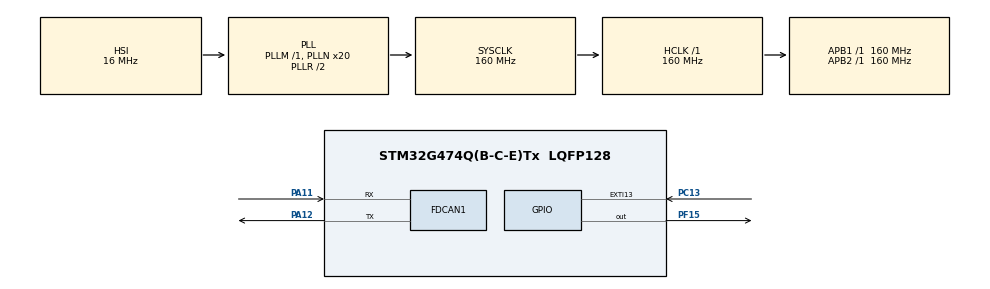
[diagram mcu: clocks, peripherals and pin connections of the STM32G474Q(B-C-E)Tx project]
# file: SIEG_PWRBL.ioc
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FDCAN1.CalculateBaudRateNominal=1000000
FDCAN1.CalculateTimeBitNominal=1000
FDCAN1.CalculateTimeQuantumNominal=50.0
FDCAN1.ClockDivider=FDCAN_CLOCK_DIV8
FDCAN1.DataTimeSeg1=15
FDCAN1.DataTimeSeg2=4
FDCAN1.FrameFormat=FDCAN_FRAME_FD_NO_BRS
FDCAN1.NominalPrescaler=1
FDCAN1.NominalTimeSeg1=15
FDCAN1.NominalTimeSeg2=4
FDCAN1.ProtocolException=ENABLE
FDCAN1.TransmitPause=ENABLE
IWDG.Prescaler=IWDG_PRESCALER_128
IWDG.Reload=1250
Mcu.Family=STM32G4
Mcu.Name=STM32G474Q(B-C-E)Tx
Mcu.Package=LQFP128
NVIC.FDCAN1_IT0_IRQn=true\:0\:0\:false\:false\:true\:true\:true\:true
NVIC.PriorityGroup=NVIC_PRIORITYGROUP_4
PA11.Mode=FDCAN_Activate
PA11.Signal=FDCAN1_RX
PA12.Mode=FDCAN_Activate
PA12.Signal=FDCAN1_TX
PA13.Mode=Serial_Wire
PA13.Signal=SYS_JTMS-SWDIO
PA14.Mode=Serial_Wire
PA14.Signal=SYS_JTCK-SWCLK
PC13.Signal=GPXTI13
PF15.Signal=GPIO_Output
ProjectManager.HeapSize=0x200
ProjectManager.StackSize=0x400
ProjectManager.TargetToolchain=STM32CubeIDE
RCC.ADC12Freq_Value=160000000
RCC.ADC345Freq_Value=160000000
RCC.AHBFreq_Value=160000000
RCC.APB1Freq_Value=160000000
RCC.APB1TimFreq_Value=160000000
RCC.APB2Freq_Value=160000000
RCC.APB2TimFreq_Value=160000000
RCC.CortexFreq_Value=160000000
RCC.EXTERNAL_CLOCK_VALUE=12288000
RCC.HCLKFreq_Value=160000000
RCC.HSE_VALUE=8000000
RCC.HSI48_VALUE=48000000
RCC.HSI_VALUE=16000000
RCC.LSE_VALUE=32768
RCC.PLLN=20
RCC.SYSCLKFreq_VALUE=160000000
RCC.SYSCLKSource=RCC_SYSCLKSOURCE_PLLCLK
RCC.USBFreq_Value=160000000
RCC.VCOOutputFreq_Value=320000000
VP_CRC_VS_CRC.Mode=CRC_Activate
VP_IWDG_VS_IWDG.Mode=IWDG_Activate
VP_SYS_VS_DBSignals.Mode=DisableDeadBatterySignals
board=custom

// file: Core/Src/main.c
/* USER CODE BEGIN Header */
/**
  ******************************************************************************
  * @file           : main.c
  * @brief          : Main program body
  ******************************************************************************
  * @attention
  *
  * Copyright (c) 2024 STMicroelectronics.
  * All rights reserved.
  *
  * This software is licensed under terms that can be found in the LICENSE file
  * in the root directory of this software component.
  * If no LICENSE file comes with this software, it is provided AS-IS.
  *
  ******************************************************************************
  */
/* USER CODE END Header */
#include "main.h"

CRC_HandleTypeDef hcrc;

FDCAN_HandleTypeDef hfdcan1;

IWDG_HandleTypeDef hiwdg;

/* USER CODE BEGIN PV */
#define STM32_FLASH_BASE    0x08000000   	//STM32 FLASHַ
#define FLASH_APP_ADDR		0x08008000	//APP          bank2=0x08040000
#define STM32_FLASH_TAIL		0x0807F000
#define LENGTH_ADDR		0x08008024
//#define Write_Max 8  //write 8 byte
//#define NumtoWrite 2048  //write 8 byte

//uint8_t APP_RX_BUF[2048];  //
//uint8_t CRC_BUF[Write_Max];
volatile uint32_t CountAddr = FLASH_APP_ADDR; //不能在callback, everytime fdcan call interrupt will reset
//uint8_t NumtoWrite = 0; //uint8_t == 8bit == unsigned char one address one byte
volatile uint32_t APPLength = 0;  //hal_falsh_program need uint64_t
//volatile uint32_t Ram_Flag = 0x20000000;

static FLASH_EraseInitTypeDef EraseInitStruct;

volatile uint8_t load_APP_flag = 1;
volatile uint8_t standby_mode_flag = 0;
//volatile uint8_t test_standby_flag = 0;
//volatile int page_num = -1;

//uint8_t TxACK[8] = {0x41,0x43,0x4b,0,0,0,0,0};
//uint8_t TxFW[8] = {2,6,0,2,0x42,0x30,0x30,0x31};
//uint8_t TxHW[8] = {4,6,0,2,0x48,0,0,0x31};
//uint8_t TxNoCRC[8] = {0x4e,0x6f,0x43,0x52,0x43,0,0,0};
//uint8_t TxCRCerror[8] = {0x43,0x52,0x43,0x65,0x72,0x72,0x6f,0x72};
//uint8_t TxIDerror[8] = {0x49,0x44,0x65,0x72,0x72,0x6f,0x72,0};
//uint8_t TxCommandError[8] = {0x43,0x6d,0x64,0x65,0x72,0x72,0x6f,0x72};
//uint8_t TxGoToAPP[8] = {0x47,0x6f,0x54,0x6f,0x41,0x50,0x50,0x00};
//uint8_t TxBL[8] = {0x42,0x4c,0x00,0x00,0x00,0x00,0x00,0x00};
//uint8_t Txstandby[8] = {0x73,0x74,0x61,0x6e,0x64,0x62,0x79,0x00};
uint8_t TxFW[8] = {2,6,0,2,0x42,0,0,0x01};
uint8_t TxHW[8] = {4,6,0,2,0x48,0,0,0x01};
uint8_t TxACK[8] = {200,2,0,3,0,0,0,0};
uint8_t TxGoToAPP[8] = {201,2,0,3,0,0,0,0};
uint8_t TxBL[8] = {202,2,0,3,0,0,0,0};
uint8_t Txstandby[8] = {203,2,0,0,0,0,0,0};
uint8_t TxRstOK[8] = {204,2,0,3,0,0,0,0};
uint8_t TxNoCRC[8] = {230,2,1,3,0,0,0,0};
uint8_t TxCRCerror[8] = {231,2,1,3,0,0,0,0};
uint8_t TxIDerror[8] = {232,2,1,3,0,0,0,0};
uint8_t TxCommandError[8] = {233,2,1,3,0,0,0,0};
uint8_t IWDGError[8] = {234,2,1,3,0,0,0,0};
//uint8_t Txtest1[8] = {0,0,0,0,0,0,0,0};
//uint8_t Txtest2[8] = {0,0,0,0,0,0,0,0};
uint8_t RxData[64];
uint32_t hand_write_app_length = 0;

FDCAN_RxHeaderTypeDef RxHeader; //CAN Bus Transmit Header uint32_t DataLength;
FDCAN_TxHeaderTypeDef TxHeader; //CAN Bus Receive Header
FDCAN_FilterTypeDef FDCAN_Fil1; //CAN Bus Filter

/* CRC 表 */
/*const unsigned int crc_table[256] = {
    0x0000, 0xc0c1, 0xc181, 0x0140, 0xc301, 0x03c0, 0x0280, 0xc241,
    0xc601, 0x06c0, 0x0780, 0xc741, 0x0500, 0xc5c1, 0xc481, 0x0440,
    0xcc01, 0x0cc0, 0x0d80, 0xcd41, 0x0f00, 0xcfc1, 0xce81, 0x0e40,
    0x0a00, 0xcac1, 0xcb81, 0x0b40, 0xc901, 0x09c0, 0x0880, 0xc841,
    0xd801, 0x18c0, 0x1980, 0xd941, 0x1b00, 0xdbc1, 0xda81, 0x1a40,
    0x1e00, 0xdec1, 0xdf81, 0x1f40, 0xdd01, 0x1dc0, 0x1c80, 0xdc41,
    0x1400, 0xd4c1, 0xd581, 0x1540, 0xd701, 0x17c0, 0x1680, 0xd641,
    0xd201, 0x12c0, 0x1380, 0xd341, 0x1100, 0xd1c1, 0xd081, 0x1040,
    0xf001, 0x30c0, 0x3180, 0xf141, 0x3300, 0xf3c1, 0xf281, 0x3240,
    0x3600, 0xf6c1, 0xf781, 0x3740, 0xf501, 0x35c0, 0x3480, 0xf441,
    0x3c00, 0xfcc1, 0xfd81, 0x3d40, 0xff01, 0x3fc0, 0x3e80, 0xfe41,
    0xfa01, 0x3ac0, 0x3b80, 0xfb41, 0x3900, 0xf9c1, 0xf881, 0x3840,
    0x2800, 0xe8c1, 0xe981, 0x2940, 0xeb01, 0x2bc0, 0x2a80, 0xea41,
    0xee01, 0x2ec0, 0x2f80, 0xef41, 0x2d00, 0xedc1, 0xec81, 0x2c40,
    0xe401, 0x24c0, 0x2580, 0xe541, 0x2700, 0xe7c1, 0xe681, 0x2640,
    0x2200, 0xe2c1, 0xe381, 0x2340, 0xe101, 0x21c0, 0x2080, 0xe041,
    0xa001, 0x60c0, 0x6180, 0xa141, 0x6300, 0xa3c1, 0xa281, 0x6240,
    0x6600, 0xa6c1, 0xa781, 0x6740, 0xa501, 0x65c0, 0x6480, 0xa441,
    0x6c00, 0xacc1, 0xad81, 0x6d40, 0xaf01, 0x6fc0, 0x6e80, 0xae41,
    0xaa01, 0x6ac0, 0x6b80, 0xab41, 0x6900, 0xa9c1, 0xa881, 0x6840,
    0x7800, 0xb8c1, 0xb981, 0x7940, 0xbb01, 0x7bc0, 0x7a80, 0xba41,
    0xbe01, 0x7ec0, 0x7f80, 0xbf41, 0x7d00, 0xbdc1, 0xbc81, 0x7c40,
    0xb401, 0x74c0, 0x7580, 0xb541, 0x7700, 0xb7c1, 0xb681, 0x7640,
    0x7200, 0xb2c1, 0xb381, 0x7340, 0xb101, 0x71c0, 0x7080, 0xb041,
    0x5000, 0x90c1, 0x9181, 0x5140, 0x9301, 0x53c0, 0x5280, 0x9241,
    0x9601, 0x56c0, 0x5780, 0x9741, 0x5500, 0x95c1, 0x9481, 0x5440,
    0x9c01, 0x5cc0, 0x5d80, 0x9d41, 0x5f00, 0x9fc1, 0x9e81, 0x5e40,
    0x5a00, 0x9ac1, 0x9b81, 0x5b40, 0x9901, 0x59c0, 0x5880, 0x9841,
    0x8801, 0x48c0, 0x4980, 0x8941, 0x4b00, 0x8bc1, 0x8a81, 0x4a40,
    0x4e00, 0x8ec1, 0x8f81, 0x4f40, 0x8d01, 0x4dc0, 0x4c80, 0x8c41,
    0x4400, 0x84c1, 0x8581, 0x4540, 0x8701, 0x47c0, 0x4680, 0x8641,
    0x8201, 0x42c0, 0x4380, 0x8341, 0x4100, 0x81c1, 0x8081, 0x4040,
};*/
/* USER CODE END PV */

void SystemClock_Config(void);
static void MX_GPIO_Init(void);
static void MX_FDCAN1_Init(void);
static void MX_IWDG_Init(void);
static void MX_CRC_Init(void);
/* USER CODE BEGIN PFP */
typedef void (*iapfun)(void);				//
iapfun jump2app;
void Iap_Load_App(uint32_t appxaddr);			// APP
void Iap_Write_AppBin(uint8_t *pBuffer, uint16_t NumtoWrite, uint32_t WriteAddr, uint32_t WriteAPPLength, uint8_t WriteToFlashSize);	//
//unsigned short Do_CRC_Table(uint8_t *ptr, uint32_t len);
void Standby(void);
/*#ifdef __GNUC__
#define PUTCHAR_PROTOTYPE int __io_putchar(int ch)
#else
#define PUTCHAR_PROTOTYPE int fputc(int ch, FILE *f)
#endif

PUTCHAR_PROTOTYPE
{
  HAL_UART_Transmit(&huart1, (uint8_t *)&ch, 1, HAL_MAX_DELAY);
  return ch;
}*/
/* USER CODE END PFP */

int main(void)
{

  /* MCU Configuration--------------------------------------------------------*/

  /* Reset of all peripherals, Initializes the Flash interface and the Systick. */
  HAL_Init();

  /* Configure the system clock */
  SystemClock_Config();

  /* Initialize all configured peripherals */
  MX_GPIO_Init();
  MX_FDCAN1_Init();
  MX_CRC_Init();
  /* USER CODE BEGIN 2 */
  SCB->VTOR = FLASH_BASE | 0x00000000;
  __enable_irq();
  /* Enable Power Clock */
  __HAL_RCC_PWR_CLK_ENABLE();
  HAL_PWR_EnableBkUpAccess();
  FDCAN_Fil1.IdType = FDCAN_STANDARD_ID;
  FDCAN_Fil1.FilterIndex = 0;
  FDCAN_Fil1.FilterType = FDCAN_FILTER_RANGE;
  FDCAN_Fil1.FilterConfig = FDCAN_FILTER_TO_RXFIFO0;
  FDCAN_Fil1.FilterID1 = 0x000;
  FDCAN_Fil1.FilterID2 = 0x200;

  TxHeader.Identifier = 0x100; //id
  TxHeader.IdType = FDCAN_STANDARD_ID;
  TxHeader.TxFrameType = FDCAN_DATA_FRAME;
  TxHeader.DataLength = FDCAN_DLC_BYTES_8;
  TxHeader.ErrorStateIndicator = FDCAN_ESI_ACTIVE;
  TxHeader.BitRateSwitch = FDCAN_FRAME_FD_NO_BRS; //FDCAN_FRAME_FD_NO_BRS; //FDCAN_BRS_ON;
  TxHeader.FDFormat = FDCAN_FD_CAN; //FDCAN_FD_CAN;
  TxHeader.TxEventFifoControl = FDCAN_NO_TX_EVENTS;
  TxHeader.MessageMarker = 0;

  HAL_FDCAN_ConfigFilter(&hfdcan1,&FDCAN_Fil1);
  HAL_FDCAN_ConfigGlobalFilter(&hfdcan1, FDCAN_ACCEPT_IN_RX_FIFO0, FDCAN_REJECT, DISABLE, DISABLE);
//  HAL_FDCAN_ActivateNotification(&hfdcan1, FDCAN_IT_RX_FIFO0_NEW_MESSAGE, 0);
//  HAL_FDCAN_ActivateNotification(&hfdcan1, FDCAN_IT_RX_FIFO1_NEW_MESSAGE, 0);
  if (HAL_FDCAN_ActivateNotification(&hfdcan1, FDCAN_IT_RX_FIFO0_NEW_MESSAGE, 0) != HAL_OK)
  {
    Error_Handler();
  }
  if (HAL_FDCAN_ConfigTxDelayCompensation(&hfdcan1, 5, 0) != HAL_OK)
  {
    Error_Handler();
  }
  if (HAL_FDCAN_EnableTxDelayCompensation(&hfdcan1) != HAL_OK)
  {
    Error_Handler();
  }
  HAL_FDCAN_Start(&hfdcan1);
  HAL_GPIO_WritePin(GPIOF, GPIO_PIN_15, GPIO_PIN_RESET);
  // Check if the system has resumed from StandBy mode
  //if ( __HAL_PWR_GET_FLAG(PWR_FLAG_WUF2) !=  2 || READ_REG( TAMP->BKP14R) == 0xBEEFBEEF) {
  if ((__HAL_RCC_GET_FLAG(RCC_FLAG_BORRST) != RESET)  || (READ_REG(TAMP->BKP14R) == 0xBEEFBEEF))//只要是上電復位或是剛剛在standby mode就再進去一次
  {
	  WRITE_REG(TAMP->BKP14R, 0x00000000);
	  __HAL_RCC_CLEAR_RESET_FLAGS();//清除當前的復位標誌，所以不用加參數
  //if ( READ_REG( PWR->SR1) !=  0x00000002) {//因為還有SB 的bit所以讀出來不會是2
/*	  Txtest1[0] = READ_REG( PWR->SR1);
		if (HAL_FDCAN_AddMessageToTxFifoQ(&hfdcan1, &TxHeader, Txtest1) != HAL_OK) //write rear will receive error message
		{
		  Error_Handler();
		}
	HAL_Delay(200);*/
      //__HAL_PWR_CLEAR_FLAG(PWR_FLAG_SB);
      Standby(); //enter again  //不要用__HAL_PWR_GET_FLAG(PWR_FLAG_WUF2)
  }
/*  else{
  	//__HAL_PWR_CLEAR_FLAG(PWR_FLAG_SB);
  	//__HAL_PWR_CLEAR_FLAG(PWR_FLAG_WU);
  }*/
/*  Txtest1[0] = READ_REG( PWR->SR1);
	if (HAL_FDCAN_AddMessageToTxFifoQ(&hfdcan1, &TxHeader, Txtest1) != HAL_OK) //write rear will receive error message
	{
	  Error_Handler();
	}
HAL_Delay(200);*/
/*  		if (HAL_FDCAN_AddMessageToTxFifoQ(&hfdcan1, &TxHeader, Txtest2) != HAL_OK) //write rear will receive error message
  		{
  		  Error_Handler();
  		}
  HAL_Delay(200);*/
  //if(*(volatile uint32_t*)Ram_Flag != 0xBEEFBEEF){
  if (READ_REG( TAMP->BKP15R ) != 0xBEEFBEEF)//不是standby
  {
/*		if (HAL_FDCAN_AddMessageToTxFifoQ(&hfdcan1, &TxHeader, Txtest1) != HAL_OK) //write rear will receive error message
		{
		  Error_Handler();
		}
	HAL_Delay(200);*/
	  MX_IWDG_Init();//在這裡才init所以記得在ioc設定關掉自動生成iwdg call
	  if (HAL_IWDG_Refresh(&hiwdg) != HAL_OK)//Refresh IWDG: reload counter
	  {
	    Error_Handler();// Refresh Error
	  }
  }
  if ((__HAL_RCC_GET_FLAG(RCC_FLAG_IWDGRST) != RESET))
  {
	  __HAL_RCC_CLEAR_RESET_FLAGS();
	  if (HAL_FDCAN_AddMessageToTxFifoQ(&hfdcan1, &TxHeader, IWDGError) != HAL_OK) //write rear will receive error message
	  {
	    Error_Handler();
	  }
	  HAL_Delay(100);
  }
  /* USER CODE END 2 */

  /* Infinite loop */
  /* USER CODE BEGIN WHILE */
  while (1)
  {
	  	//HAL_GPIO_WritePin(GPIOE, GPIO_PIN_0, GPIO_PIN_SET);
	  	//HAL_GPIO_WritePin(GPIOE, GPIO_PIN_1, GPIO_PIN_SET);
	  	//HAL_GPIO_WritePin(GPIOE, GPIO_PIN_2, GPIO_PIN_SET);
	  	//HAL_GPIO_WritePin(GPIOE, GPIO_PIN_3, GPIO_PIN_SET);
	/*	  printf("AA \n\r");
	  	HAL_Delay(2000);*/
	/*      if (HAL_FDCAN_AddMessageToTxFifoQ(&hfdcan1, &TxHeader, TxData) != HAL_OK)
	      {
	        Error_Handler();
	      }*/
	  	//*(volatile uint32_t*)Ram_Flag = 0xDEADDAAD;
		  //if(*(volatile uint32_t*)Ram_Flag == 0xDEADBEEF){//16進制不分大小寫
	      if (READ_REG( TAMP->BKP15R) == 0xDEADBEEF)
	      {
			  load_APP_flag = 0;
			  if (HAL_FDCAN_AddMessageToTxFifoQ(&hfdcan1, &TxHeader, TxBL) != HAL_OK) //write rear will receive error message
			  {
				Error_Handler();
			  }
			  WRITE_REG( TAMP->BKP15R, 0x00000000);
			  HAL_Delay(100);
			  //*(volatile uint32_t*)Ram_Flag = 0x00000000;

		  }
		  //else if(*(volatile uint32_t*)Ram_Flag == 0xBEEFBEEF){
		  else if (READ_REG( TAMP->BKP15R) == 0xBEEFBEEF)
		  {
			  //*(volatile uint32_t*)Ram_Flag = 0x00000000;
			  load_APP_flag = 0;
			  //HAL_GPIO_WritePin(GPIOE, GPIO_PIN_1, GPIO_PIN_SET);
			  if (HAL_FDCAN_AddMessageToTxFifoQ(&hfdcan1, &TxHeader, Txstandby) != HAL_OK) //write rear will receive error message
			  {
				Error_Handler();
		      }
			  //*(volatile uint32_t*)Ram_Flag = 0x00000000;
		      WRITE_REG( TAMP->BKP15R, 0x00000000);
			  HAL_Delay(100);
			  Standby();
		  }
		  //else if(load_APP_flag == 1 && *(volatile uint32_t*)Ram_Flag != 0xDEADBEEF && *(volatile uint32_t*)Ram_Flag != 0xBEEFBEEF){
		  else if (load_APP_flag == 1 && READ_REG( TAMP->BKP15R) != 0xDEADBEEF && READ_REG( TAMP->BKP15R) != 0xBEEFBEEF)
		  {
			  load_APP_flag = 0;
			  Iap_Load_App(FLASH_APP_ADDR);
		  }
		  else
		  {
		  }
		  if (HAL_IWDG_Refresh(&hiwdg) != HAL_OK)//Refresh IWDG: reload counter
		  {
		      Error_Handler();// Refresh Error
		  }
/*		  if(test_standby_flag == 1){
			  test_standby_flag = 0;
				if (HAL_FDCAN_AddMessageToTxFifoQ(&hfdcan1, &TxHeader, TxACK) != HAL_OK) //write rear will receive error message
				{
				  Error_Handler();
				}
				HAL_Delay(1000);
			  Standby();
		  }*/
		  //*(volatile uint32_t*)Ram_Flag = 0x00000000;
		  //HAL_Delay(1000);
    /* USER CODE END WHILE */

  }
}

void SystemClock_Config(void)
{
  RCC_OscInitTypeDef RCC_OscInitStruct = {0};
  RCC_ClkInitTypeDef RCC_ClkInitStruct = {0};

  /** Configure the main internal regulator output voltage
  */
  HAL_PWREx_ControlVoltageScaling(PWR_REGULATOR_VOLTAGE_SCALE1_BOOST);

  /** Initializes the RCC Oscillators according to the specified parameters
  * in the RCC_OscInitTypeDef structure.
  */
  RCC_OscInitStruct.OscillatorType = RCC_OSCILLATORTYPE_HSI|RCC_OSCILLATORTYPE_LSI;
  RCC_OscInitStruct.HSIState = RCC_HSI_ON;
  RCC_OscInitStruct.HSICalibrationValue = RCC_HSICALIBRATION_DEFAULT;
  RCC_OscInitStruct.LSIState = RCC_LSI_ON;
  RCC_OscInitStruct.PLL.PLLState = RCC_PLL_ON;
  RCC_OscInitStruct.PLL.PLLSource = RCC_PLLSOURCE_HSI;
  RCC_OscInitStruct.PLL.PLLM = RCC_PLLM_DIV1;
  RCC_OscInitStruct.PLL.PLLN = 20;
  RCC_OscInitStruct.PLL.PLLP = RCC_PLLP_DIV2;
  RCC_OscInitStruct.PLL.PLLQ = RCC_PLLQ_DIV2;
  RCC_OscInitStruct.PLL.PLLR = RCC_PLLR_DIV2;
  if (HAL_RCC_OscConfig(&RCC_OscInitStruct) != HAL_OK)
  {
    Error_Handler();
  }

  /** Initializes the CPU, AHB and APB buses clocks
  */
  RCC_ClkInitStruct.ClockType = RCC_CLOCKTYPE_HCLK|RCC_CLOCKTYPE_SYSCLK
                              |RCC_CLOCKTYPE_PCLK1|RCC_CLOCKTYPE_PCLK2;
  RCC_ClkInitStruct.SYSCLKSource = RCC_SYSCLKSOURCE_PLLCLK;
  RCC_ClkInitStruct.AHBCLKDivider = RCC_SYSCLK_DIV1;
  RCC_ClkInitStruct.APB1CLKDivider = RCC_HCLK_DIV1;
  RCC_ClkInitStruct.APB2CLKDivider = RCC_HCLK_DIV1;

  if (HAL_RCC_ClockConfig(&RCC_ClkInitStruct, FLASH_LATENCY_4) != HAL_OK)
  {
    Error_Handler();
  }
}

static void MX_CRC_Init(void)
{

  hcrc.Instance = CRC;
  hcrc.Init.DefaultPolynomialUse = DEFAULT_POLYNOMIAL_ENABLE;
  hcrc.Init.DefaultInitValueUse = DEFAULT_INIT_VALUE_ENABLE;
  hcrc.Init.InputDataInversionMode = CRC_INPUTDATA_INVERSION_NONE;
  hcrc.Init.OutputDataInversionMode = CRC_OUTPUTDATA_INVERSION_DISABLE;
  hcrc.InputDataFormat = CRC_INPUTDATA_FORMAT_BYTES;
  if (HAL_CRC_Init(&hcrc) != HAL_OK)
  {
    Error_Handler();
  }

}

static void MX_FDCAN1_Init(void)
{

  hfdcan1.Instance = FDCAN1;
  hfdcan1.Init.ClockDivider = FDCAN_CLOCK_DIV8;
  hfdcan1.Init.FrameFormat = FDCAN_FRAME_FD_NO_BRS;
  hfdcan1.Init.Mode = FDCAN_MODE_NORMAL;
  hfdcan1.Init.AutoRetransmission = DISABLE;
  hfdcan1.Init.TransmitPause = ENABLE;
  hfdcan1.Init.ProtocolException = ENABLE;
  hfdcan1.Init.NominalPrescaler = 1;
  hfdcan1.Init.NominalSyncJumpWidth = 1;
  hfdcan1.Init.NominalTimeSeg1 = 15;
  hfdcan1.Init.NominalTimeSeg2 = 4;
  hfdcan1.Init.DataPrescaler = 1;
  hfdcan1.Init.DataSyncJumpWidth = 1;
  hfdcan1.Init.DataTimeSeg1 = 15;
  hfdcan1.Init.DataTimeSeg2 = 4;
  hfdcan1.Init.StdFiltersNbr = 0;
  hfdcan1.Init.ExtFiltersNbr = 0;
  hfdcan1.Init.TxFifoQueueMode = FDCAN_TX_FIFO_OPERATION;
  if (HAL_FDCAN_Init(&hfdcan1) != HAL_OK)
  {
    Error_Handler();
  }

}

static void MX_IWDG_Init(void)
{

  hiwdg.Instance = IWDG;
  hiwdg.Init.Prescaler = IWDG_PRESCALER_128;
  hiwdg.Init.Window = 4095;
  hiwdg.Init.Reload = 1250;
  if (HAL_IWDG_Init(&hiwdg) != HAL_OK)
  {
    Error_Handler();
  }

}

static void MX_GPIO_Init(void)
{
  GPIO_InitTypeDef GPIO_InitStruct = {0};

  /* GPIO Ports Clock Enable */
  __HAL_RCC_GPIOC_CLK_ENABLE();
  __HAL_RCC_GPIOF_CLK_ENABLE();
  __HAL_RCC_GPIOA_CLK_ENABLE();

  /*Configure GPIO pin Output Level */
  HAL_GPIO_WritePin(GPIOF, GPIO_PIN_15, GPIO_PIN_RESET);

  /*Configure GPIO pin : PC13 */
  GPIO_InitStruct.Pin = GPIO_PIN_13;
  GPIO_InitStruct.Mode = GPIO_MODE_IT_RISING;
  GPIO_InitStruct.Pull = GPIO_NOPULL;
  HAL_GPIO_Init(GPIOC, &GPIO_InitStruct);

  /*Configure GPIO pin : PF15 */
  GPIO_InitStruct.Pin = GPIO_PIN_15;
  GPIO_InitStruct.Mode = GPIO_MODE_OUTPUT_PP;
  GPIO_InitStruct.Pull = GPIO_NOPULL;
  GPIO_InitStruct.Speed = GPIO_SPEED_FREQ_LOW;
  HAL_GPIO_Init(GPIOF, &GPIO_InitStruct);

}

/* USER CODE BEGIN 4 */
void HAL_FDCAN_RxFifo0Callback(FDCAN_HandleTypeDef *hfdcanRx1, uint32_t RxFifo0ITs)
{
	HAL_FDCAN_GetRxMessage(hfdcanRx1, FDCAN_RX_FIFO0, &RxHeader, RxData);
	switch(RxHeader.Identifier)
	{
		case 0x01:
	        if (HAL_FDCAN_AddMessageToTxFifoQ(&hfdcan1, &TxHeader, TxFW) != HAL_OK)
	        {
	          Error_Handler();
	        }
			break;
		case 0x05:
	    	load_APP_flag = 0;
	    	Iap_Write_AppBin(RxData, 64, CountAddr, APPLength, 8);
	    	CountAddr += 64;
	        APPLength += 64;       //RxHeader.DataLength不是64不要用這個  #define FDCAN_DLC_BYTES_64 ((uint32_t)0x0000000FU) 所以只有byte==8時才可以用
	        if (HAL_FDCAN_AddMessageToTxFifoQ(&hfdcan1, &TxHeader, TxACK) != HAL_OK)
	        {
	          Error_Handler();
	        }
			break;
		case 0x06:
	    	load_APP_flag = 1;
	    	Iap_Write_AppBin(RxData, 64, CountAddr, APPLength, 8);//
			CountAddr += 64;
	        APPLength += 64;
			break;
		case 0x07:
			load_APP_flag = 1;
			break;
/*		case 0x08:
			*(volatile uint32_t*)Ram_Flag = 0xBEEFBEEF;
			break;*/
/*		case 0x08:
			WRITE_REG( TAMP->BKP14R, 0xBEEFBEEF);
			WRITE_REG( TAMP->BKP15R, 0xBEEFBEEF);
			break;*/
		case 0x111:
			if(RxData[0]==14)
			{
		        //*(volatile uint32_t*)Ram_Flag = 0xBEEFBEEF;
		        WRITE_REG( TAMP->BKP15R, 0xBEEFBEEF);
			}
			else if(RxData[0]==3)
			{
		        if (HAL_FDCAN_AddMessageToTxFifoQ(&hfdcan1, &TxHeader, TxHW) != HAL_OK)
		        {
		          Error_Handler();
		        }
			}
			else
			{
				if (HAL_FDCAN_AddMessageToTxFifoQ(&hfdcan1, &TxHeader, TxCommandError) != HAL_OK)
				{
				  Error_Handler();
				}
			}
	        break;
		case 0x10:
	        uint32_t u32TxFifoRqst = HAL_FDCAN_GetLatestTxFifoQRequestBuffer(&hfdcan1);
	        HAL_FDCAN_AbortTxRequest(&hfdcan1, u32TxFifoRqst);
			load_APP_flag = 0;
			CountAddr = FLASH_APP_ADDR;
	        APPLength = 0;
	        //WRITE_REG( TAMP->BKP15R, 0x00000000);
	        //*(volatile uint32_t*)Ram_Flag = 0x00000000;//不能清，清了會直接跳到APP
	        if (HAL_FDCAN_AddMessageToTxFifoQ(&hfdcan1, &TxHeader, TxRstOK) != HAL_OK)
	        {
	          Error_Handler();
	        }
			break;
		default:
	        if (HAL_FDCAN_AddMessageToTxFifoQ(&hfdcan1, &TxHeader, TxIDerror) != HAL_OK)
	        {
	          Error_Handler();
	        }
	        break;
	}
/*    if(RxHeader.Identifier == 0x111)// 04FF=2K 8*16*16=2048
    {
        if (HAL_FDCAN_AddMessageToTxFifoQ(&hfdcan1, &TxHeader, TxFW) != HAL_OK)
        {
          Error_Handler();
        }
    }

    if(RxHeader.Identifier == 0x03)// 04FF=2K 8*16*16=2048
    {
        if (HAL_FDCAN_AddMessageToTxFifoQ(&hfdcan1, &TxHeader, TxHW) != HAL_OK)
        {
          Error_Handler();
        }
    }

    if(RxHeader.Identifier == 0x05)// 04FF=2K 8*16*16=2048
    {
    	//HAL_GPIO_WritePin(GPIOE, GPIO_PIN_0, GPIO_PIN_SET);
//    	HAL_GPIO_TogglePin(GPIOE, GPIO_PIN_0);
    	load_APP_flag = 0;
    	Iap_Write_AppBin(RxData, 64, CountAddr, APPLength, 8);
    	CountAddr += 64;
        APPLength += 64;       //RxHeader.DataLength不是64不要用這個  #define FDCAN_DLC_BYTES_64 ((uint32_t)0x0000000FU) 所以只有byte==8時才可以用
        if (HAL_FDCAN_AddMessageToTxFifoQ(&hfdcan1, &TxHeader, TxACK) != HAL_OK)
        {
          Error_Handler();
        }
    }
    if(RxHeader.Identifier == 0x06)//write remain data
    {
    	load_APP_flag = 1;
		Iap_Write_AppBin(RxData, 64, CountAddr, APPLength, 8);//
		CountAddr += 64;
        APPLength += 64;
    }
	if(RxHeader.Identifier == 0x07)
	{
        load_APP_flag = 1;
	}
	if(RxHeader.Identifier == 0x10)
	{
        uint32_t u32TxFifoRqst = HAL_FDCAN_GetLatestTxFifoQRequestBuffer(&hfdcan1);
        HAL_FDCAN_AbortTxRequest(&hfdcan1, u32TxFifoRqst);
		load_APP_flag = 0;
		CountAddr = FLASH_APP_ADDR;
        APPLength = 0;
        if (HAL_FDCAN_AddMessageToTxFifoQ(&hfdcan1, &TxHeader, TxACK) != HAL_OK)
        {
          Error_Handler();
        }

	}*/
/*	if(RxHeader.Identifier == 0x02)
	{
		test_standby_flag = 1;
	}*/
}
void Iap_Load_App(uint32_t appxaddr)
{
	//HAL_GPIO_WritePin(GPIOA, GPIO_PIN_0, GPIO_PIN_SET);
	//HAL_Delay(2000);
	uint32_t Length_Addr = *(uint32_t*)LENGTH_ADDR;//存在08008024 uint32_t代表只讀4個bytes
		//uint32_t crccrc = 0;
	if( Length_Addr != 0xFFFFFFFF && Length_Addr != 0x00000000 )
	{  //  *STM32_FLASH_TAIL will error  because  is number not address 一次拿32個bit LENGTH_ADDR
		//uint32_t crc_value_2 = Do_CRC_Table( ( uint8_t*)FLASH_APP_ADDR , Length_Addr); this line is ok
		uint32_t crc_value_2 = HAL_CRC_Calculate(&hcrc, (uint32_t*)FLASH_APP_ADDR, Length_Addr)^0xFFFFFFFF;
		if( *( uint32_t*)(FLASH_APP_ADDR + Length_Addr) != crc_value_2)
		{
/*			crccrc = *( uint32_t*)(FLASH_APP_ADDR + Length_Addr);
			if(Length_Addr == 0x3480){
				HAL_GPIO_WritePin(GPIOE, GPIO_PIN_0, GPIO_PIN_SET);
			}
			if(crccrc == 0xF313){
				HAL_GPIO_WritePin(GPIOE, GPIO_PIN_1, GPIO_PIN_SET);
			}
			if(crc_value_2  == 0xF313){
				HAL_GPIO_WritePin(GPIOE, GPIO_PIN_2, GPIO_PIN_SET);
			}

			uint8_t test_value = 0;
			int k=0;
			while (crccrc != 0)
			{
				test_value = crccrc % 10;
				TxData[k] = test_value;
				crccrc /= 10;
			    k++;
			}
	        if (HAL_FDCAN_AddMessageToTxFifoQ(&hfdcan1, &TxHeader, TxData) != HAL_OK)
	        {
	          Error_Handler();
	        }
	        HAL_Delay(1000);
			k=0;
			while (crc_value_2 != 0)
			{
				test_value = crc_value_2 % 10;
				TxData[k] = test_value;
				crc_value_2 /= 10;
			    k++;
			}
	        if (HAL_FDCAN_AddMessageToTxFifoQ(&hfdcan1, &TxHeader, TxData) != HAL_OK)
	        {
	          Error_Handler();
	        }

			HAL_Delay(1000);
			k=0;
			while (Length_Addr != 0)
			{
				test_value = Length_Addr % 10;
				TxData[k] = test_value;
				Length_Addr /= 10;
				k++;
			}*/
			if (HAL_FDCAN_AddMessageToTxFifoQ(&hfdcan1, &TxHeader, TxCRCerror) != HAL_OK)
			{
			  Error_Handler();
			}
			HAL_Delay(100);
			return;
		}
		else
		{
			if (HAL_FDCAN_AddMessageToTxFifoQ(&hfdcan1, &TxHeader, TxGoToAPP) != HAL_OK) //if write rear will receive error mesage
			{
			  Error_Handler();
			}
			HAL_Delay(100);
		    if (HAL_IWDG_Refresh(&hiwdg) != HAL_OK)//Refresh IWDG: reload counter
		    {
		      Error_Handler();// Refresh Error
		    }
			//if(((*(volatile uint32_t*)appxaddr)&0x2FFE0000)==0x20000000)	//
			//{
		        /* */
			jump2app=(iapfun)*(volatile uint32_t*)(appxaddr+4);//appxaddr = 0x08008000                                           //(iapfun)函數指針 (vu32*)是轉型態 *取出該地址的內容
			 /* Disable all interrupts */
			HAL_NVIC_DisableIRQ(FDCAN1_IT0_IRQn);
			HAL_FDCAN_DeactivateNotification(&hfdcan1, FDCAN_IT_RX_FIFO0_NEW_MESSAGE);
			HAL_FDCAN_DeInit(&hfdcan1);
			HAL_GPIO_DeInit(GPIOF, GPIO_PIN_15);
			HAL_GPIO_DeInit(GPIOC, GPIO_PIN_13);
			//HAL_GPIO_DeInit(GPIOE, GPIO_PIN_0);
			//HAL_GPIO_DeInit(GPIOE, GPIO_PIN_2);
			//HAL_GPIO_DeInit(GPIOE, GPIO_PIN_3);
			HAL_PWR_DisableBkUpAccess();
			__HAL_RCC_PWR_CLK_DISABLE();
			//HAL_RTC_DeInit(&hrtc);
			//HAL_GPIO_DeInit(GPIOE, GPIO_PIN_0);
			//HAL_GPIO_DeInit(GPIOE, GPIO_PIN_1);
			HAL_DeInit();
			//__disable_irq();//Daniel doesn't like it.
																											//__set_PRIMASK(1); //__disable_irq();
			/* Set the clock to the default state */
			HAL_RCC_DeInit();
			//HAL_SuspendTick();//SysTick->CTRL我認為和SysTick->CTRL一樣的意思
			/* Disable Systick timer */
			SysTick->CTRL = 0;//0: counter disabled 1: counter enabled.
			SysTick->LOAD = 0;
			SysTick->VAL = 0;
			/* Clear Interrupt Enable Register & Interrupt Pending Register */
			for (uint16_t i = 0; i < sizeof(NVIC->ICER)/sizeof(NVIC->ICER[0]); i++)
			{
				NVIC->ICER[i]=0xFFFFFFFF;
				NVIC->ICPR[i]=0xFFFFFFFF;
			}
																											  /* Re-enable all interrupts */
																									 // __enable_irq();		        //__set_PRIMASK(0);
			/*  RTOS Set the MSP*/
			__set_CONTROL(0);
			__set_MSP(*(volatile uint32_t*)appxaddr);					// Set the MSP
			jump2app();									//
			while (1)
			{
			}
			//}
		}
	}
	else
	{
        if (HAL_FDCAN_AddMessageToTxFifoQ(&hfdcan1, &TxHeader, TxNoCRC) != HAL_OK)
        {
          Error_Handler();
        }
        HAL_Delay(100);
		return;
	}

}
void Iap_Write_AppBin(uint8_t *pBuffer, uint16_t NumtoWrite, uint32_t WriteAddr, uint32_t WriteAPPLength, uint8_t WriteToFlashSize)//each byte one address
{
//	HAL_GPIO_TogglePin(GPIOE, GPIO_PIN_1);
	//HAL_GPIO_WritePin(GPIOA, GPIO_PIN_1, GPIO_PIN_SET);
    if (WriteAddr < STM32_FLASH_BASE || (WriteAddr >= STM32_FLASH_TAIL))
    {
    	//HAL_GPIO_WritePin(GPIOA, GPIO_PIN_0, GPIO_PIN_SET);
    	//HAL_Delay(2000);
        //printf("stack overflow\r\n");
        return;
    }
	if (HAL_IWDG_Refresh(&hiwdg) != HAL_OK)//Refresh IWDG: reload counter
	{
	    Error_Handler();// Refresh Error
	}
    uint32_t PageError = 0; ////设置PageError,如果出现错误这个变量会被设置为出错的FLASH地址
    //uint32_t FirstPage = 0, NbOfPages = 0, BankNumber = 0;
    //uint32_t Address = 0, PageError = 0; ////设置PageError,如果出现错误这个变量会被设置为出错的FLASH地址
    /*One page (2 Kbytes)STM32G474  有双 Bank 功能，且默认情况下 Option Bytes 中的 DBANK =1*/
    //crc = HAL_CRC_Calculate(&hcrc, (u32 *)pBuffer, NumToWrite)^0x00000000;//word size=32bits

    HAL_FLASH_Unlock();
    if ((WriteAPPLength % 2048) == 0)
    { //two page FLASH_PAGE_SIZE==2048
    	//HAL_GPIO_WritePin(GPIOE, GPIO_PIN_3, GPIO_PIN_SET);
    	//HAL_GPIO_TogglePin(GPIOE, GPIO_PIN_2);
    	//HAL_GPIO_TogglePin(GPIOE, GPIO_PIN_2);
  	    EraseInitStruct.TypeErase   = FLASH_TYPEERASE_PAGES;
  	    EraseInitStruct.NbPages     = 1;
        if (WriteAddr < 0x08040000)
        {
        	//FLASH_PageErase( (WriteAddr-FLASH_APP_ADDR)/2048, FLASH_BANK_1); //FLASH_ErasePage法二 //error
  		    EraseInitStruct.Page = (WriteAddr-STM32_FLASH_BASE)/FLASH_PAGE_SIZE;
  		    EraseInitStruct.Banks = FLASH_BANK_1;
        	if (HAL_FLASHEx_Erase(&EraseInitStruct, &PageError) != HAL_OK)
        	{
        		Error_Handler();
        	}
        }
        else
        {
  		    EraseInitStruct.Page = (WriteAddr-0x08040000)/FLASH_PAGE_SIZE;
  		    EraseInitStruct.Banks = FLASH_BANK_2;
        	if (HAL_FLASHEx_Erase(&EraseInitStruct, &PageError) != HAL_OK)
        	{
        		Error_Handler();
        	}
        }
/*        if(WriteCRCAddr < 0x08040000){
        	//FLASH_PageErase((WriteCRCAddr-FLASH_APP_ADDR)/2048, FLASH_BANK_1); //crc
  		    EraseInitStruct.Page = (WriteCRCAddr-STM32_FLASH_BASE)/FLASH_PAGE_SIZE;
  		    EraseInitStruct.Banks = FLASH_BANK_1;
        	if (HAL_FLASHEx_Erase(&EraseInitStruct, &PageError) != HAL_OK){
        		Error_Handler();
        	}
        }
        else{
        	//FLASH_PageErase((WriteCRCAddr-0x08040000)/2048, FLASH_BANK_2); //crc
  		    EraseInitStruct.Page = (WriteCRCAddr-0x08040000)/FLASH_PAGE_SIZE;//FLASH_PAGE_SIZE==2048
  		    EraseInitStruct.Banks = FLASH_BANK_2;
        	if (HAL_FLASHEx_Erase(&EraseInitStruct, &PageError) != HAL_OK){
        		Error_Handler();
        	}
        }*/                                                                                                                 //close
    }
    //HAL_GPIO_TogglePin(GPIOE, GPIO_PIN_3);
    uint64_t merge_pBuffer = 0;
    for (uint16_t i = 0; i < NumtoWrite; i += WriteToFlashSize)
    {//(Address < FLASH_USER_END_ADDR) write 8 byte every time
//    	if (WriteToFlashSize==8)
//    	{
    		merge_pBuffer = 0;
        	for (uint16_t j=0; j < WriteToFlashSize; j++)
        	{
        		merge_pBuffer |= (uint64_t)*(pBuffer + j);
        		if (j < (WriteToFlashSize-1))
        		{
        			merge_pBuffer <<= 8; //8 is bit not byte
        		}
        	}
        	merge_pBuffer = ((merge_pBuffer << 8) & (0xFF00FF00FF00FF00) ) | ((merge_pBuffer >> 8) & (0x00FF00FF00FF00FF) ); //must have add uint64_t because CPU do 32bit
        	merge_pBuffer = ((merge_pBuffer << 16) &  (0xFFFF0000FFFF0000) ) | ((merge_pBuffer >> 16) &  (0x0000FFFF0000FFFF) );
        	merge_pBuffer = (merge_pBuffer << 32) | (merge_pBuffer >> 32);
//        	if(WriteAddr != 0x08008020){//關掉保留給crc的位置，因為crc是離線燒進去的
            	if (HAL_FLASH_Program(FLASH_TYPEPROGRAM_DOUBLEWORD, WriteAddr, merge_pBuffer) != HAL_OK)//write 8bytes *(pointer+0)=a[0]
            	{
            		Error_Handler();
            	}
//        	}
//    	}
/*    	else
    	{//LASH_TYPEPROGRAM_FAST用這個就不能用page erase 要用mass erase
    		uint32_t merge_pBuffer32 = 0;
        	for (uint16_t j=0; j<WriteToFlashSize; j++)
        	{
        		merge_pBuffer32 |= (uint32_t)*(pBuffer + j);
        		if (j < (WriteToFlashSize-1))
        		{
        			merge_pBuffer32 <<= 8; //8 is bit not byte
        		}
        	}
        	merge_pBuffer32 = ((merge_pBuffer32>>24)&0xff) | // move byte 3 to byte 0
                    ((merge_pBuffer32<<8)&0xff0000) | // move byte 1 to byte 2
                    ((merge_pBuffer32>>8)&0xff00) | // move byte 2 to byte 1
                    ((merge_pBuffer32<<24)&0xff000000); // byte 0 to byte 3
        	if (HAL_FLASH_Program(FLASH_TYPEPROGRAM_FAST, WriteAddr, merge_pBuffer32) != HAL_OK)//write 4bytes *(pointer+0)=a[0]
        	{
        		Error_Handler();
        	}
    	}*/
    	//printf("%lx \n",*(uint32_t*)WriteAddr );
/*    	merge_pBuffer = 0;
        for(int j=0; j<8; j++){
        	merge_pBuffer |= Do_CRC_Table(pBuffer + j, 1);//sizeof(pBuffer)==array_length   send pointer
        	merge_pBuffer <<= 8;
        }
    	if (HAL_FLASH_Program(FLASH_TYPEPROGRAM_DOUBLEWORD, WriteCRCAddr, merge_pBuffer) != HAL_OK)//write 8bytes *(pointer+0)=a[0]
    	{
    		//CRC_BUF = CRC_BUF + i;  重複使用crc_buf
    	}
*/                                                                                                                 //close
    	pBuffer = pBuffer + WriteToFlashSize;
    	WriteAddr = WriteAddr + WriteToFlashSize;
	}
/*	if(load_APP_flag == 1){
		WriteAPPLength = WriteAPPLength + NumtoWrite;
		//FLASH_PageErase((STM32_FLASH_TAIL-0x08040000)/2048, FLASH_BANK_2);
  	    EraseInitStruct.TypeErase   = FLASH_TYPEERASE_PAGES;
  	    EraseInitStruct.NbPages     = 1;
		EraseInitStruct.Page = 126; //page index
		EraseInitStruct.Banks = FLASH_BANK_2;
    	if (HAL_FLASHEx_Erase(&EraseInitStruct, &PageError) != HAL_OK){
    		Error_Handler();
    	}
    	if(( WriteAPPLength % FLASH_PAGE_SIZE) == 0){
      	    EraseInitStruct.TypeErase   = FLASH_TYPEERASE_PAGES;
      	    EraseInitStruct.NbPages     = 1;
            if(WriteAddr < 0x08040000){
            	//FLASH_PageErase( (WriteAddr-FLASH_APP_ADDR)/2048, FLASH_BANK_1); //FLASH_ErasePage法二 //error
      		    EraseInitStruct.Page = (WriteAddr - STM32_FLASH_BASE)/FLASH_PAGE_SIZE;
      		    EraseInitStruct.Banks = FLASH_BANK_1;
            	if (HAL_FLASHEx_Erase(&EraseInitStruct, &PageError) != HAL_OK){
            		Error_Handler();
            	}
            }
            else{
      		    EraseInitStruct.Page = (WriteAddr - 0x08040000)/FLASH_PAGE_SIZE;
      		    EraseInitStruct.Banks = FLASH_BANK_2;
            	if (HAL_FLASHEx_Erase(&EraseInitStruct, &PageError) != HAL_OK){
            		Error_Handler();
            	}
            }
    	}
		if (HAL_FLASH_Program(FLASH_TYPEPROGRAM_DOUBLEWORD, LENGTH_ADDR, WriteAPPLength) != HAL_OK){
			Error_Handler();//寫入的資料會自動強制轉型成uint64_t  0x08008020 LENGTH_ADDR STM32_FLASH_TAIL
		}
		uint64_t crc_value = Do_CRC_Table( ( uint8_t*)FLASH_APP_ADDR , WriteAPPLength);//先寫再算crc，才不會crc error
		if (HAL_FLASH_Program(FLASH_TYPEPROGRAM_DOUBLEWORD, WriteAddr, crc_value) != HAL_OK){  //WriteAddr前面已經加了
			Error_Handler();
		}
	}*/
    HAL_FLASH_Lock();
}

//查表法算crc ModBus
/*unsigned short Do_CRC_Table(uint8_t *ptr, uint32_t len)//len==array number
{
    unsigned short crc = 0xFFFF;
    while(len--)
    {
        crc = (crc >> 8) ^ crc_table[(crc ^ *ptr++) & 0xff];
    }
    return (crc);
}*/
void Standby(void){
	//HAL_GPIO_WritePin(GPIOF, GPIO_PIN_15, GPIO_PIN_SET);
	HAL_PWREx_EnablePullUpPullDownConfig();//standby mode專用，因為進standby modegpio都會設成類比
	HAL_PWREx_EnableGPIOPullUp(PWR_GPIO_F, GPIO_PIN_15);
	HAL_PWREx_EnableGPIOPullDown(PWR_GPIO_F, PWR_GPIO_BIT_12);
	HAL_PWREx_EnableGPIOPullDown(PWR_GPIO_B, PWR_GPIO_BIT_6);

	HAL_PWREx_EnableGPIOPullDown(PWR_GPIO_B, PWR_GPIO_BIT_4);
	HAL_PWREx_EnableGPIOPullDown(PWR_GPIO_B, PWR_GPIO_BIT_5);
	HAL_PWREx_EnableGPIOPullDown(PWR_GPIO_B, PWR_GPIO_BIT_9);
	HAL_PWREx_EnableGPIOPullDown(PWR_GPIO_E, PWR_GPIO_BIT_0);
	HAL_PWREx_EnableGPIOPullDown(PWR_GPIO_E, PWR_GPIO_BIT_1);
	HAL_PWREx_EnableGPIOPullDown(PWR_GPIO_E, PWR_GPIO_BIT_2);
	HAL_PWREx_EnableGPIOPullDown(PWR_GPIO_E, PWR_GPIO_BIT_3);
	HAL_PWREx_EnableGPIOPullDown(PWR_GPIO_F, PWR_GPIO_BIT_9);
	HAL_PWREx_EnableGPIOPullDown(PWR_GPIO_F, PWR_GPIO_BIT_10);
	HAL_PWREx_EnableGPIOPullDown(PWR_GPIO_F, PWR_GPIO_BIT_14);
	HAL_PWREx_EnableGPIOPullDown(PWR_GPIO_C, PWR_GPIO_BIT_6);
	HAL_PWREx_EnableGPIOPullDown(PWR_GPIO_C, PWR_GPIO_BIT_7);
	HAL_PWREx_EnableGPIOPullDown(PWR_GPIO_C, PWR_GPIO_BIT_8);
	HAL_PWREx_EnableGPIOPullDown(PWR_GPIO_C, PWR_GPIO_BIT_10);
	HAL_PWREx_EnableGPIOPullDown(PWR_GPIO_C, PWR_GPIO_BIT_11);
	HAL_PWREx_EnableGPIOPullDown(PWR_GPIO_C, PWR_GPIO_BIT_12);
	HAL_PWREx_EnableGPIOPullDown(PWR_GPIO_E, PWR_GPIO_BIT_8);
	HAL_PWREx_EnableGPIOPullDown(PWR_GPIO_E, PWR_GPIO_BIT_9);
	HAL_PWREx_EnableGPIOPullDown(PWR_GPIO_E, PWR_GPIO_BIT_10);
	HAL_PWREx_EnableGPIOPullDown(PWR_GPIO_E, PWR_GPIO_BIT_11);
	HAL_PWREx_EnableGPIOPullDown(PWR_GPIO_E, PWR_GPIO_BIT_12);
	HAL_PWREx_EnableGPIOPullDown(PWR_GPIO_E, PWR_GPIO_BIT_13);
	HAL_PWREx_EnableGPIOPullDown(PWR_GPIO_D, PWR_GPIO_BIT_0);
	HAL_PWREx_EnableGPIOPullDown(PWR_GPIO_D, PWR_GPIO_BIT_1);

//	HAL_PWREx_EnableGPIOPullUp(PWR_GPIO_C, GPIO_PIN_13);

//	HAL_PWR_DisableWakeUpPin(PWR_WAKEUP_PIN2_LOW);
	HAL_PWR_DisableWakeUpPin(PWR_WAKEUP_PIN2);
//	__HAL_PWR_CLEAR_FLAG(PWR_FLAG_SB);
/*	  if(__HAL_PWR_GET_FLAG(PWR_FLAG_SB) != RESET)
	  {
	    __HAL_PWR_CLEAR_FLAG(PWR_FLAG_SB);//Clear Standby flag
	  }*/

	//RCC_APB1PeriphClockCmd(RCC_APB1Periph_PWR , ENABLE);//我不用開rcc
	//HAL_PWR_EnableBkUpAccess();
	/* Clear all related wakeup flags */
//	__HAL_PWR_CLEAR_FLAG(PWR_FLAG_WU);
	__HAL_PWR_CLEAR_FLAG(PWR_FLAG_WUF2);
	__HAL_PWR_CLEAR_FLAG(PWR_FLAG_SB);
	//HAL_PWR_EnableWakeUpPin(PWR_WAKEUP_PIN2_HIGH);
	HAL_PWR_EnableWakeUpPin(PWR_WAKEUP_PIN2_LOW);
	//PWR_WakeUpPinCmd (ENABLE);
	HAL_PWR_EnterSTANDBYMode();
}
/* USER CODE END 4 */

void Error_Handler(void)
{
  __disable_irq();
  while (1)
  {
  }
}
